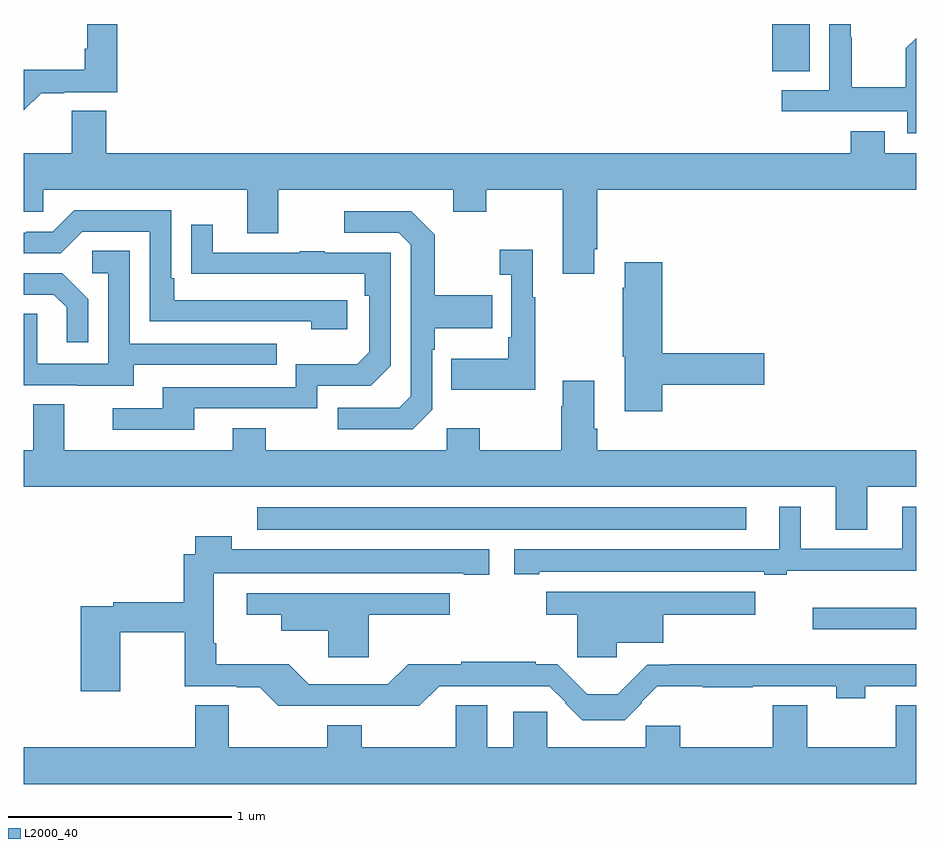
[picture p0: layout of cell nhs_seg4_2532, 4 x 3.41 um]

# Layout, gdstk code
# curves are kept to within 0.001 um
import gdstk
lib = gdstk.Library(unit=1e-6, precision=1e-09)
def R(c, l, rs):  # rectangles x0, y0, x1, y1
    for r in rs: c.add(gdstk.rectangle(r[:2], r[2:], *l))
def P(c, l, *ps):  # polygons
    for p in ps: c.add(gdstk.Polygon(p, *l))
L2000_40 = (2000, 40)

nhs_seg4_2532 = lib.new_cell('nhs_seg4_2532')
R(nhs_seg4_2532, L2000_40, [(246.537,792.185,247,792.283), (244.047,792.632,246.238,792.733), (246.356,794.689,246.523,794.9)])
P(nhs_seg4_2532, L2000_40, [(247,794.836),(246.955,794.791),(246.955,794.617),(246.711,794.617),(246.711,794.84),(246.708,794.84),(246.708,794.9),(246.612,794.9),(246.612,794.604),(246.399,794.604),(246.399,794.508),(246.96,794.508),(246.96,794.411),(247,794.411)],
  [(243.077,794.59),(243.181,794.59),(243.181,794.595),(243.419,794.595),(243.419,794.9),(243.284,794.9),(243.284,794.788),(243.272,794.788),(243.272,794.694),(243,794.694),(243,794.513)],
  [(245.557,793.891),(245.57,793.891),(245.57,794.156),(247,794.156),(247,794.32),(246.859,794.32),(246.859,794.419),(246.707,794.419),(246.707,794.32),(243.368,794.32),(243.368,794.51),(243.215,794.51),(243.215,794.32),(243,794.32),(243,794.058),(243.087,794.058),(243.087,794.156),(244.001,794.156),(244.001,793.962),(244.141,793.962),(244.141,794.156),(244.925,794.156),(244.925,794.057),(245.073,794.057),(245.073,794.156),(245.417,794.156),(245.417,793.779),(245.557,793.779)],
  [(244.45,793.662),(243.673,793.662),(243.673,793.759),(243.66,793.759),(243.66,794.064),(243.225,794.064),(243.129,793.968),(243.011,793.968),(243.011,793.965),(243,793.965),(243,793.872),(243.165,793.872),(243.261,793.968),(243.564,793.968),(243.564,793.566),(244.289,793.566),(244.289,793.532),(244.45,793.532)],
  [(244.83,793.17),(244.83,793.439),(244.843,793.439),(244.843,793.535),(245.099,793.535),(245.099,793.683),(244.843,793.683),(244.843,793.955),(244.737,794.061),(244.437,794.061),(244.437,793.965),(244.68,793.965),(244.734,793.911),(244.734,793.23),(244.683,793.179),(244.407,793.179),(244.407,793.083),(244.743,793.083)],
  [(243.763,793.176),(244.314,793.176),(244.314,793.278),(244.554,793.278),(244.644,793.368),(244.644,793.875),(244.349,793.875),(244.349,793.88),(244.237,793.88),(244.237,793.875),(243.847,793.875),(243.847,793.999),(243.751,793.999),(243.751,793.78),(244.528,793.779),(244.528,793.682),(244.548,793.682),(244.548,793.428),(244.495,793.375),(244.218,793.375),(244.218,793.272),(243.623,793.272),(243.623,793.176),(243.399,793.176),(243.399,793.08),(243.763,793.08)],
  [(245.293,793.675),(245.281,793.675),(245.281,793.888),(245.133,793.888),(245.133,793.775),(245.184,793.775),(245.184,793.495),(245.172,793.495),(245.172,793.399),(244.915,793.399),(244.915,793.259),(245.293,793.259)],
  [(243.493,793.371),(244.133,793.371),(244.133,793.467),(243.474,793.467),(243.474,793.883),(243.306,793.883),(243.306,793.782),(243.378,793.782),(243.378,793.377),(243.06,793.377),(243.06,793.601),(243,793.601),(243,793.281),(243.239,793.281),(243.239,793.277),(243.493,793.277)],
  [(245.861,793.282),(246.319,793.282),(246.319,793.424),(245.861,793.424),(245.861,793.831),(245.693,793.831),(245.693,793.718),(245.686,793.718),(245.686,793.407),(245.693,793.407),(245.693,793.164),(245.861,793.164)],
  [(243.288,793.666),(243.172,793.782),(243,793.782),(243,793.686),(243.134,793.686),(243.191,793.629),(243.191,793.473),(243.288,793.473)],
  [(246.781,792.824),(247,792.824),(247,792.988),(245.57,792.988),(245.57,793.084),(245.557,793.084),(245.557,793.3),(245.417,793.3),(245.417,793.187),(245.41,793.187),(245.41,792.988),(245.043,792.988),(245.043,793.087),(244.896,793.087),(244.896,792.988),(244.083,792.988),(244.083,793.087),(243.935,793.087),(243.935,792.988),(243.181,792.988),(243.181,793.196),(243.041,793.196),(243.041,792.988),(243,792.988),(243,792.824),(246.641,792.824),(246.641,792.631),(246.781,792.631)],
  [(246.42,792.449),(247,792.449),(247,792.736),(246.938,792.736),(246.938,792.546),(246.484,792.546),(246.484,792.736),(246.386,792.736),(246.386,792.544),(245.199,792.544),(245.199,792.433),(245.311,792.433),(245.311,792.443),(246.32,792.443),(246.32,792.431),(246.42,792.431)],
  [(245.77,791.855),(245.768,791.858),(245.84,791.93),(246.044,791.93),(246.044,791.926),(246.269,791.926),(246.269,791.931),(246.643,791.931),(246.643,791.876),(246.772,791.876),(246.772,791.931),(247,791.931),(247,792.028),(246.449,792.028),(246.449,792.03),(245.896,792.03),(245.896,792.027),(245.795,792.027),(245.663,791.895),(245.526,791.895),(245.392,792.03),(245.294,792.03),(245.294,792.04),(244.96,792.04),(244.96,792.03),(244.722,792.03),(244.632,791.94),(244.276,791.94),(244.188,792.028),(244.088,792.028),(244.088,792.03),(243.863,792.03),(243.863,792.124),(243.85,792.124),(243.85,792.437),(244.973,792.437),(244.973,792.43),(245.086,792.43),(245.086,792.544),(243.932,792.544),(243.932,792.604),(243.767,792.604),(243.767,792.523),(243.716,792.523),(243.716,792.308),(243.4,792.308),(243.4,792.288),(243.254,792.288),(243.254,791.907),(243.432,791.907),(243.432,792.172),(243.721,792.172),(243.721,791.931),(243.953,791.931),(243.953,791.926),(244.057,791.926),(244.14,791.843),(244.773,791.843),(244.861,791.931),(245.355,791.931),(245.429,791.858),(245.426,791.855),(245.503,791.777),(245.693,791.777)],
  [(245.657,792.125),(245.866,792.125),(245.866,792.251),(246.28,792.251),(246.28,792.355),(245.343,792.355),(245.343,792.251),(245.482,792.251),(245.482,792.06),(245.657,792.06)],
  [(244.547,792.25),(244.909,792.25),(244.909,792.348),(243.999,792.348),(243.999,792.25),(244.154,792.25),(244.154,792.179),(244.364,792.179),(244.364,792.06),(244.547,792.06)],
  [(247,791.846),(246.91,791.846),(246.91,791.656),(246.513,791.656),(246.513,791.846),(246.358,791.846),(246.358,791.656),(245.943,791.656),(245.943,791.754),(245.789,791.754),(245.789,791.656),(245.346,791.656),(245.346,791.815),(245.195,791.815),(245.195,791.656),(245.077,791.656),(245.077,791.846),(244.937,791.846),(244.937,791.656),(244.515,791.656),(244.515,791.755),(244.36,791.755),(244.36,791.656),(243.919,791.656),(243.919,791.846),(243.767,791.846),(243.767,791.656),(243,791.656),(243,791.492),(247,791.492)])

lib.write_gds('nhs_seg4_2532.gds')
